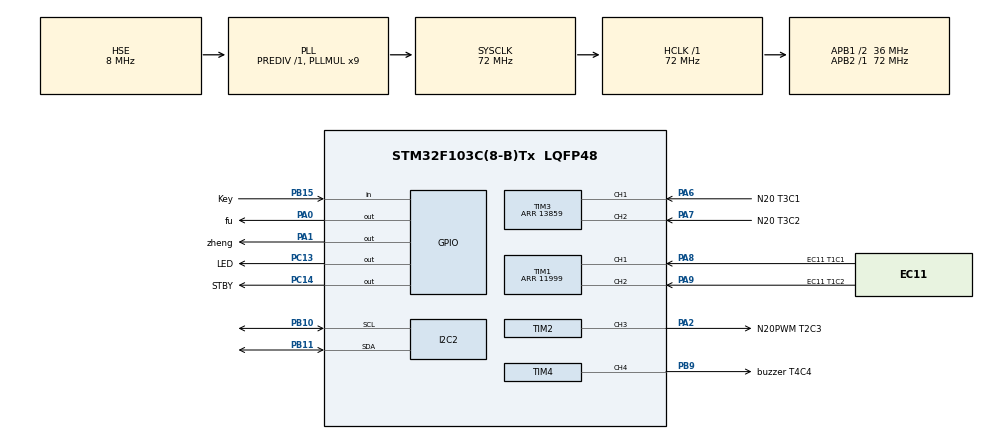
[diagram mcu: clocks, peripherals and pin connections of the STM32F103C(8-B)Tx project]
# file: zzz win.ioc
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Mcu.Family=STM32F1
Mcu.Name=STM32F103C(8-B)Tx
Mcu.Package=LQFP48
NVIC.PriorityGroup=NVIC_PRIORITYGROUP_4
PA0-WKUP.GPIO_Label=fu
PA0-WKUP.PinState=GPIO_PIN_RESET
PA0-WKUP.Signal=GPIO_Output
PA1.GPIO_Label=zheng
PA1.PinState=GPIO_PIN_RESET
PA1.Signal=GPIO_Output
PA13.Mode=Serial_Wire
PA13.Signal=SYS_JTMS-SWDIO
PA14.Mode=Serial_Wire
PA14.Signal=SYS_JTCK-SWCLK
PA2.GPIO_Label=N20PWM T2C3
PA2.Signal=S_TIM2_CH3
PA6.GPIO_Label=N20 T3C1
PA6.Signal=S_TIM3_CH1
PA7.GPIO_Label=N20 T3C2
PA7.Signal=S_TIM3_CH2
PA8.GPIO_Label=EC11 T1C1
PA8.Signal=S_TIM1_CH1
PA9.GPIO_Label=EC11 T1C2
PA9.Signal=S_TIM1_CH2
PB10.Mode=I2C
PB10.Signal=I2C2_SCL
PB11.Mode=I2C
PB11.Signal=I2C2_SDA
PB15.GPIO_Label=Key
PB15.GPIO_PuPd=GPIO_NOPULL
PB15.Signal=GPIO_Input
PB9.GPIO_Label=buzzer T4C4
PB9.Signal=S_TIM4_CH4
PC13-TAMPER-RTC.GPIO_Label=LED
PC13-TAMPER-RTC.Signal=GPIO_Output
PC14-OSC32_IN.GPIO_Label=STBY
PC14-OSC32_IN.PinState=GPIO_PIN_SET
PC14-OSC32_IN.Signal=GPIO_Output
PD0-OSC_IN.Mode=HSE-External-Oscillator
PD0-OSC_IN.Signal=RCC_OSC_IN
PD1-OSC_OUT.Mode=HSE-External-Oscillator
PD1-OSC_OUT.Signal=RCC_OSC_OUT
ProjectManager.HeapSize=0x200
ProjectManager.StackSize=0x400
ProjectManager.TargetToolchain=STM32CubeIDE
RCC.AHBFreq_Value=72000000
RCC.APB1CLKDivider=RCC_HCLK_DIV2
RCC.APB1Freq_Value=36000000
RCC.APB1TimFreq_Value=72000000
RCC.APB2Freq_Value=72000000
RCC.APB2TimFreq_Value=72000000
RCC.HCLKFreq_Value=72000000
RCC.PLLMUL=RCC_PLL_MUL9
RCC.PLLSourceVirtual=RCC_PLLSOURCE_HSE
RCC.SYSCLKFreq_VALUE=72000000
RCC.SYSCLKSource=RCC_SYSCLKSOURCE_PLLCLK
RCC.USBFreq_Value=72000000
SH.S_TIM1_CH1.0=TIM1_CH1,Encoder_Interface
SH.S_TIM1_CH2.0=TIM1_CH2,Encoder_Interface
SH.S_TIM2_CH3.0=TIM2_CH3,PWM Generation3 CH3
SH.S_TIM3_CH1.0=TIM3_CH1,Encoder_Interface
SH.S_TIM3_CH2.0=TIM3_CH2,Encoder_Interface
SH.S_TIM4_CH4.0=TIM4_CH4,PWM Generation4 CH4
TIM1.IC1Filter=15
TIM1.IC2Filter=15
TIM1.Period=11999
TIM2.Channel-PWM\ Generation3\ CH3=TIM_CHANNEL_3
TIM2.Period=999
TIM2.Prescaler=71
TIM2.Pulse-PWM\ Generation3\ CH3=999
TIM3.IC1Filter=15
TIM3.IC2Filter=15
TIM3.Period=13859
TIM4.Channel-PWM\ Generation4\ CH4=TIM_CHANNEL_4
TIM4.Period=49999
TIM4.Prescaler=7199
TIM4.Pulse-PWM\ Generation4\ CH4=49999
VP_TIM2_VS_ClockSourceINT.Mode=Internal
VP_TIM4_VS_ClockSourceINT.Mode=Internal
board=custom

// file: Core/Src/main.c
/* USER CODE BEGIN Header */
/**
  ******************************************************************************
  * @file           : main.c
  * @brief          : Main program body
  ******************************************************************************
  * @attention
  *
  * Copyright (c) 2025 STMicroelectronics.
  * All rights reserved.
  *
  * This software is licensed under terms that can be found in the LICENSE file
  * in the root directory of this software component.
  * If no LICENSE file comes with this software, it is provided AS-IS.
  *
  ******************************************************************************
  */
/* USER CODE END Header */
#include "main.h"
#include "i2c.h"
#include "tim.h"
#include "gpio.h"

/* USER CODE BEGIN Includes */

#include<stdio.h>
#include<string.h>
#include<math.h>
#include "oled.h"

/* USER CODE END Includes */

/* USER CODE BEGIN PV */

typedef enum {
    SYS_INIT,
    MENU_MAIN,
    MODE_PAUSE,
    MODE_SPIN,
    MODE_TARGET,
    MODE_CHEAT,
    MODE_SLEEP,
    SYS_ERROR
} SystemState;

SystemState sysState = SYS_INIT;

char mainmenu1[]="1.Pause";
char mainmenu2[]="2.Spin";
char mainmenu3[]="3.Target";
char mainmenu5[]="5.Cheat";
char mainmenu4[]="4.Sleep";

int tim4counter=-1;
int shuangji=0;
int danji=0;

int test1=0;
int test2=0;

int stateshift;//ec11
int locationstate;//N20
int targetlocationstate;//N20

//测速相关
int vState=0;
int N20counter1;
int timcounter1;
int N20counter2;
int timcounter2;
float realspeed;
void speeddetect()
{
	  if(vState==0)
	  {
		  N20counter1=__HAL_TIM_GET_COUNTER(&htim3);
		  timcounter1=__HAL_TIM_GET_COUNTER(&htim4);
		  vState=1;
	  }else if(vState<=3)
	  {vState++;}else
	  {
		  N20counter2=__HAL_TIM_GET_COUNTER(&htim3);
		  timcounter2=__HAL_TIM_GET_COUNTER(&htim4);
		  if(N20counter1>=11000&&N20counter2<=3400)
		  {
			  realspeed=-(N20counter2+13860-N20counter1);
		  }else if(N20counter2>=11000&&N20counter1<=3400)
		  {
			  realspeed=(N20counter1+13860-N20counter2);
		  }else
		  {
			  realspeed=-(N20counter2-N20counter1);
		  }
		  float timtemp;
		  if(timcounter1>=40000&&timcounter2<=10000)
		  {
			  timtemp=timcounter2-timcounter1+50000;
		  }else
		  {
			  timtemp=timcounter2-timcounter1;
		  }

		  realspeed=realspeed/693/timtemp*300000;
		  vState=0;

		  //显示speed
		  showspeed();
		  //OLED_ShowFrame();
	  }
}

//圈数相关
int setround;
int realround=-1;

int mubiao=10;
int cha;

//位置相关
double realn20=0;
int realarea=1;
char realareaout[3];

/* USER CODE END PV */

void SystemClock_Config(void);

/* USER CODE BEGIN 0 */
void stoph()
{
	  HAL_GPIO_WritePin(fu_GPIO_Port, fu_Pin, RESET);
	  HAL_GPIO_WritePin(zheng_GPIO_Port, zheng_Pin, RESET);
}

void stops()
{
	  HAL_GPIO_WritePin(fu_GPIO_Port, fu_Pin, SET);
	  HAL_GPIO_WritePin(zheng_GPIO_Port, zheng_Pin, SET);
}

void showspeed()
{
	char realspeedout[20];
	sprintf(realspeedout,"V = %.1f",realspeed);
	OLED_PrintString(3, 36, realspeedout, &font16x16, OLED_COLOR_NORMAL);
}

void clearlocation()
{
	OLED_SetPixel(105+18*cos(realn20), 39-18*sin(realn20), OLED_COLOR_REVERSED);
	OLED_SetPixel(105+17.5*cos(realn20), 39-17.5*sin(realn20), OLED_COLOR_REVERSED);
	OLED_SetPixel(105+17*cos(realn20), 39-17*sin(realn20), OLED_COLOR_REVERSED);
	OLED_SetPixel(105+16.5*cos(realn20), 39-16.5*sin(realn20), OLED_COLOR_REVERSED);
	OLED_SetPixel(105+16*cos(realn20), 39-16*sin(realn20), OLED_COLOR_REVERSED);
	char spitempshowlocation[]="  ";
	OLED_PrintString(100, 30, spitempshowlocation, &font16x16, OLED_COLOR_NORMAL);
}

void showlocation()
{
	OLED_SetPixel(105+18*cos(realn20), 39-18*sin(realn20), OLED_COLOR_REVERSED);
	OLED_SetPixel(105+17.5*cos(realn20), 39-17.5*sin(realn20), OLED_COLOR_REVERSED);
	OLED_SetPixel(105+17*cos(realn20), 39-17*sin(realn20), OLED_COLOR_REVERSED);
	OLED_SetPixel(105+16.5*cos(realn20), 39-16.5*sin(realn20), OLED_COLOR_REVERSED);
	OLED_SetPixel(105+16*cos(realn20), 39-16*sin(realn20), OLED_COLOR_REVERSED);

	realn20=__HAL_TIM_GET_COUNTER(&htim3)%1386;
	realarea=1+realn20/39;
	sprintf(realareaout,"%d",realarea);
	char tempshowlocation[]="  ";
	OLED_PrintString(100, 30, tempshowlocation, &font16x16, OLED_COLOR_NORMAL);
	OLED_PrintString(100, 30, realareaout, &font16x16, OLED_COLOR_NORMAL);

	realn20=realn20*3.1415926535/693;

	OLED_SetPixel(105+18*cos(realn20), 39-18*sin(realn20), OLED_COLOR_NORMAL);
	OLED_SetPixel(105+17.5*cos(realn20), 39-17.5*sin(realn20), OLED_COLOR_NORMAL);
	OLED_SetPixel(105+17*cos(realn20), 39-17*sin(realn20), OLED_COLOR_NORMAL);
	OLED_SetPixel(105+16.5*cos(realn20), 39-16.5*sin(realn20), OLED_COLOR_NORMAL);
	OLED_SetPixel(105+16*cos(realn20), 39-16*sin(realn20), OLED_COLOR_NORMAL);
	OLED_DrawCircle(105, 39, 20, OLED_COLOR_NORMAL);

	//showspeed();

	//OLED_ShowFrame();
}

void Keydetect()
{
	  if(tim4counter!=-1)
	  {
	  		if(tim4counter+4000<=__HAL_TIM_GET_COUNTER(&htim4))
	  		{
	  			danji=1;
	  			tim4counter=-1;
	  		}else if(tim4counter>=45999&&tim4counter+4000>=__HAL_TIM_GET_COUNTER(&htim4)+49999)
	  		{
	  			danji=1;
	  			tim4counter=-1;
	  		}
	  }

	  if(HAL_GPIO_ReadPin(Key_GPIO_Port, Key_Pin)==GPIO_PIN_RESET)
	  {
	  		HAL_Delay(10);
	  		while(HAL_GPIO_ReadPin(Key_GPIO_Port, Key_Pin)==GPIO_PIN_RESET);
	  		HAL_Delay(10);
	  		if(tim4counter==-1)
	  		{
	  			tim4counter=__HAL_TIM_GET_COUNTER(&htim4);
	  		}
	  		else
	  		{
	  			shuangji=1;
	  			tim4counter=-1;
	  		}
	  }
}

void winsys_Init()
{
	char qidong[]="starting";
	OLED_PrintString(13, 0, qidong, &font16x16, OLED_COLOR_NORMAL);
	OLED_ShowFrame();

	HAL_GPIO_WritePin(LED_GPIO_Port, LED_Pin, GPIO_PIN_RESET);
	HAL_Delay(500);

	HAL_GPIO_WritePin(LED_GPIO_Port, LED_Pin, GPIO_PIN_SET);
	HAL_Delay(500);

	HAL_GPIO_WritePin(LED_GPIO_Port, LED_Pin, GPIO_PIN_RESET);
	HAL_Delay(500);

	HAL_GPIO_WritePin(LED_GPIO_Port, LED_Pin, GPIO_PIN_SET);
	HAL_Delay(500);

	HAL_GPIO_WritePin(LED_GPIO_Port, LED_Pin, GPIO_PIN_RESET);
	HAL_Delay(500);

	HAL_GPIO_WritePin(LED_GPIO_Port, LED_Pin, GPIO_PIN_SET);

	HAL_Delay(500);
	//蜂鸣器一声
}
void timtest(int a)
{
	char message[20];
	char temp[]="      ";
	int counter;
	if(a==1) counter=__HAL_TIM_GET_COUNTER(&htim1);
	if(a==2) counter=__HAL_TIM_GET_COUNTER(&htim2);
	if(a==3) counter=__HAL_TIM_GET_COUNTER(&htim3);
	if(a==4) counter=__HAL_TIM_GET_COUNTER(&htim4);

	OLED_PrintString(13, 51, temp, &font16x16, OLED_COLOR_NORMAL);

	sprintf(message,"C=%d",counter);
	OLED_PrintString(13, 51, message, &font16x16, OLED_COLOR_NORMAL);
}

/* USER CODE END 0 */

int main(void)
{

  /* MCU Configuration--------------------------------------------------------*/

  /* Reset of all peripherals, Initializes the Flash interface and the Systick. */
  HAL_Init();

  /* Configure the system clock */
  SystemClock_Config();

  /* Initialize all configured peripherals */
  MX_GPIO_Init();
  MX_I2C2_Init();
  MX_TIM1_Init();
  MX_TIM2_Init();
  MX_TIM4_Init();
  MX_TIM3_Init();

  /* Infinite loop */
  /* USER CODE BEGIN WHILE */
  while (1)
  {
	  switch(sysState)
	  {
	  case SYS_INIT:

		  HAL_Delay(50);

		  OLED_Init();
		  OLED_NewFrame();
		  OLED_ShowFrame();

		  HAL_TIM_Encoder_Start(&htim1, TIM_CHANNEL_ALL);
		  HAL_TIM_Encoder_Start(&htim3, TIM_CHANNEL_ALL);
		  HAL_TIM_Base_Start(&htim4);
		  HAL_TIM_PWM_Start(&htim2, TIM_CHANNEL_3);

		  //4 buzzer PWM start
		  //HAL_TIM_PWM_Start(&htim4, TIM_CHANNEL_4);

		  //winsys_Init();//开机指标

		  char INIT1[]="Please move the";
		  char INIT2[]="pointer to point";
		  char INIT3[]="betw area 1 & 36";
		  char INIT4[]="press the key";
		  OLED_NewFrame();
		  OLED_PrintString(0, 0, INIT1, &font16x16, OLED_COLOR_NORMAL);
		  OLED_PrintString(0, 15, INIT2, &font16x16, OLED_COLOR_NORMAL);
		  OLED_PrintString(0, 31, INIT3, &font16x16, OLED_COLOR_NORMAL);
		  OLED_PrintString(0, 46, INIT4, &font16x16, OLED_COLOR_NORMAL);
		  OLED_ShowFrame();
		  while(1)
		  {
			  Keydetect();
			  if(danji)
			  {
				  danji=0;
				  break;
			  }
		  }
		  __HAL_TIM_SET_COUNTER(&htim3,0);
		  sysState = MENU_MAIN;

		  break;

	  case MENU_MAIN:
		  int meuState = 0;
		  stateshift=__HAL_TIM_GET_COUNTER(&htim1);
		  int meucounter;
		  while(1)
		  {
			  OLED_NewFrame();
			  OLED_PrintString(10, 0, mainmenu1, &font16x16, (meuState==0?OLED_COLOR_REVERSED:OLED_COLOR_NORMAL));
			  OLED_PrintString(10, 16, mainmenu2, &font16x16, (meuState==1?OLED_COLOR_REVERSED:OLED_COLOR_NORMAL));
			  OLED_PrintString(10, 32, mainmenu3, &font16x16, (meuState==2?OLED_COLOR_REVERSED:OLED_COLOR_NORMAL));
			  OLED_PrintString(10, 48, mainmenu4, &font16x16, (meuState==3?OLED_COLOR_REVERSED:OLED_COLOR_NORMAL));

			  char mentem1[]="C";
			  char mentem2[]="H";
			  char mentem3[]="E";
			  char mentem4[]="A";
			  char mentem5[]="T";
			  OLED_PrintString(90, 0, mentem1, &font16x16, (meuState==4?OLED_COLOR_REVERSED:OLED_COLOR_NORMAL));
			  OLED_PrintString(90, 13, mentem2, &font16x16, (meuState==4?OLED_COLOR_REVERSED:OLED_COLOR_NORMAL));
			  OLED_PrintString(90, 26, mentem3, &font16x16, (meuState==4?OLED_COLOR_REVERSED:OLED_COLOR_NORMAL));
			  OLED_PrintString(90, 40, mentem4, &font16x16, (meuState==4?OLED_COLOR_REVERSED:OLED_COLOR_NORMAL));
			  OLED_PrintString(90, 52, mentem5, &font16x16, (meuState==4?OLED_COLOR_REVERSED:OLED_COLOR_NORMAL));

			  meucounter=__HAL_TIM_GET_COUNTER(&htim1);
			  if(stateshift>=0&&stateshift<=1000&&meucounter>=4000)
			  {
				  meuState+=(5-1);
				  meuState%=5;
				  HAL_Delay(100);
				  stateshift=__HAL_TIM_GET_COUNTER(&htim1);
			  }else if(stateshift<meucounter)
			  {
				  meuState+=1;
				  meuState%=5;
				  HAL_Delay(100);
				  stateshift=__HAL_TIM_GET_COUNTER(&htim1);
			  }else if(stateshift>=4000&&meucounter<=1000&&meucounter>=0)
			  {
				  meuState+=1;
				  meuState%=5;
				  HAL_Delay(100);
				  stateshift=__HAL_TIM_GET_COUNTER(&htim1);
			  }else if(stateshift>meucounter)
			  {
				  meuState+=(5-1);
				  meuState%=5;
				  HAL_Delay(100);
				  stateshift=__HAL_TIM_GET_COUNTER(&htim1);
			  }
			  OLED_ShowFrame();

			  Keydetect();

			  if(danji)
			  {
				  switch(meuState)
				  {
				  case 0:
					  sysState=MODE_PAUSE;
					  break;
				  case 1:
					  sysState=MODE_SPIN;
					  break;
				  case 2:
					  sysState=MODE_TARGET;
					  break;
				  case 3:
					  sysState=MODE_SLEEP;
					  break;
				  case 4:
					  sysState=MODE_CHEAT;
					  break;
				  }
				  __HAL_TIM_SET_COUNTER(&htim1,0);
				  danji=0;
			  }

			  if(shuangji)
			  {
				  sysState = SYS_INIT;
				  shuangji=0;
			  }

			  if(sysState!=MENU_MAIN)
			  {
				  break;
			  }
		  }
		  break;

	  case MODE_PAUSE:

		  char pause1[]="SPEED =      r/m";
		  OLED_NewFrame();
		  OLED_PrintString(0, 0, pause1, &font16x16, (OLED_COLOR_NORMAL));
		  OLED_ShowFrame();

		  int pauState = 0;
		  stateshift=__HAL_TIM_GET_COUNTER(&htim1);//速度调节调用
		  locationstate=__HAL_TIM_GET_COUNTER(&htim3);//位置调用
		  int paucounter;
		  int pauspeed=0;

		  while(sysState==MODE_PAUSE)
		  {
			  showlocation();
			  if(pauState!=0)
			  {
				  speeddetect();
			  }else
			  {
				  //遮住速度
			  }
			  OLED_ShowFrame();

			  if(pauState==0)
			  {
				  Keydetect();
				  paucounter=__HAL_TIM_GET_COUNTER(&htim1);
				  if(stateshift>=0&&stateshift<=1000&&paucounter>=4000)
				  {
					  pauspeed-=(stateshift+14000-paucounter)*5;
					  stateshift=paucounter;//逆时针
				  }else if(stateshift<paucounter)
				  {
					  pauspeed+=(paucounter-stateshift)*5;
					  stateshift=paucounter;
				  }else if(stateshift>=4000&&paucounter<=1000&&paucounter>=0)
				  {
					  pauspeed+=(paucounter+14000-stateshift)*5;
					  stateshift=paucounter;
				  }else if(stateshift>paucounter)
				  {
					  pauspeed-=(stateshift-paucounter)*5;
					  stateshift=paucounter;//逆时针
				  }

				  if(pauspeed<-300)
				  {
					  pauspeed=-300;
				  }else
				  {
					  if(pauspeed>300)
					  {
						  pauspeed=300;
					  }
				  }
				  char pauspeedout[5];
				  sprintf(pauspeedout,"%d",pauspeed);

				  OLED_PrintString(0, 0, pause1, &font16x16, (OLED_COLOR_NORMAL));
				  OLED_PrintString(63, 0, pauspeedout, &font16x16, OLED_COLOR_REVERSED);
				  OLED_ShowFrame();

				  if(shuangji)
				  {
					  shuangji=0;
					  sysState=MENU_MAIN;

				  }else if(danji)
				  {
					  danji=0;
					  OLED_PrintString(63, 0, pauspeedout, &font16x16, OLED_COLOR_NORMAL);
					  OLED_ShowFrame();

					  if(pauspeed>0)
					  {
						  __HAL_TIM_SET_COMPARE(&htim2,TIM_CHANNEL_3,(pauspeed*10/3)-1);
						  HAL_GPIO_WritePin(zheng_GPIO_Port, zheng_Pin, SET);
						  HAL_GPIO_WritePin(fu_GPIO_Port, fu_Pin, RESET);
						  pauState=1;
					  }else if(pauspeed<0)
					  {
						  __HAL_TIM_SET_COMPARE(&htim2,TIM_CHANNEL_3,(-pauspeed*10/3)-1);
						  HAL_GPIO_WritePin(zheng_GPIO_Port, zheng_Pin, RESET);
						  HAL_GPIO_WritePin(fu_GPIO_Port, fu_Pin, SET);
						  pauState=1;
					  }
				  }

			  }else
			  {
				  Keydetect();
				  if(danji||shuangji)
				  {
					  HAL_GPIO_WritePin(fu_GPIO_Port, fu_Pin, SET);
					  HAL_GPIO_WritePin(zheng_GPIO_Port, zheng_Pin, SET);

					  danji=0;
					  shuangji=0;
					  pauState=0;
				  }
			  }
			  if(sysState!=MODE_PAUSE)
			  {
				  break;
			  }
		  }
		  break;

	  case MODE_SPIN:
		  int spiState = 0;//0=设定v 1=设定圈 2=电机启动到自然停下 3=finish
		  stateshift=__HAL_TIM_GET_COUNTER(&htim1);//速度调节调用
		  locationstate=__HAL_TIM_GET_COUNTER(&htim3);//位置调用
		  int spicounter;//计数器比较
		  int spispeed=0;
		  float spiround=0;
		  char spispeedout[5];
		  char spiroundout[5];

		  OLED_NewFrame();
		  char spin1[]="SPEED =     r/m";
		  OLED_PrintString(3, 0, spin1, &font16x16, OLED_COLOR_NORMAL);
		  char spin2[]="SPIN     R";
		  OLED_PrintString(3, 17, spin2, &font16x16, OLED_COLOR_NORMAL);
		  sprintf(spiroundout,"%d",spiround);
		  OLED_PrintString(44, 17, spiroundout, &font16x16, OLED_COLOR_NORMAL);
		  OLED_ShowFrame();

		  while(1)
		  {
			  //指针区域显示

			  showlocation();
			  switch(spiState)
			  {
			  case 0:

				  //ec11速度旋转调节

				  spicounter=__HAL_TIM_GET_COUNTER(&htim1);
				  if(stateshift>=0&&stateshift<=1000&&spicounter>=4000)
				  {
					  spispeed-=(stateshift+14000-spicounter)*5;
					  stateshift=spicounter;//逆时针
				  }else if(stateshift<spicounter)
				  {
					  spispeed+=(spicounter-stateshift)*5;
					  stateshift=spicounter;
				  }else if(stateshift>=4000&&spicounter<=1000&&spicounter>=0)
				  {
					  spispeed+=(spicounter+14000-stateshift)*5;
					  stateshift=spicounter;
				  }else if(stateshift>spicounter)
				  {
					  spispeed-=(stateshift-spicounter)*5;
					  stateshift=spicounter;//逆时针
				  }

				  if(spispeed<-300)
				  {
					  spispeed=-300;
				  }else
				  {
					  if(spispeed>300)
					  {
						  spispeed=300;
					  }
				  }
				  sprintf(spispeedout,"%d",spispeed);

				  OLED_PrintString(3, 0, spin1, &font16x16, OLED_COLOR_NORMAL);

				  OLED_PrintString(64, 0, spispeedout, &font16x16, OLED_COLOR_REVERSED);
				  OLED_ShowFrame();

				  if(danji)
				  {
					  spiState=1;
					  danji=0;
				  }else if(shuangji)
				  {
					  sysState=MENU_MAIN;
					  shuangji=0;
				  }

				  break;
			  case 1:

				  //ec11圈数旋转调节

				  spicounter=__HAL_TIM_GET_COUNTER(&htim1);
				  if(stateshift>=0&&stateshift<=1000&&spicounter>=4000)
				  {
					  spiround-=(stateshift+14000-spicounter)*0.5;
					  stateshift=spicounter;//逆时针
				  }else if(stateshift<spicounter)
				  {
					  spiround+=(spicounter-stateshift)*0.5;
					  stateshift=spicounter;
				  }else if(stateshift>=4000&&spicounter<=1000&&spicounter>=0)
				  {
					  spiround+=(spicounter+14000-stateshift)*0.5;
					  stateshift=spicounter;
				  }else if(stateshift>spicounter)
				  {
					  spiround-=(stateshift-spicounter)*0.5;
					  stateshift=spicounter;//逆时针
				  }

				  if(spiround<0)
				  {
					  spiround=0;
				  }else
				  {
					  if(spiround>999)
					  {
						  spiround=999;
					  }
				  }
				  int spiroundint=spiround;
				  sprintf(spiroundout,"%d",spiroundint);

				  OLED_PrintString(3, 0, spin1, &font16x16, OLED_COLOR_NORMAL);
				  OLED_PrintString(3, 17, spin2, &font16x16, OLED_COLOR_NORMAL);

				  OLED_PrintString(64, 0, spispeedout, &font16x16, OLED_COLOR_NORMAL);
				  OLED_PrintString(44, 17, spiroundout, &font16x16, OLED_COLOR_REVERSED);
				  OLED_ShowFrame();

				  if(danji)
				  {
					  spiState=2;
					  danji=0;
				  }else if(shuangji)
				  {
					  spiState=0;
					  shuangji=0;
				  }

				  break;
			  case 2:

				  OLED_PrintString(44, 17, spiroundout, &font16x16, OLED_COLOR_NORMAL);

				  char spitem1[]="spinning";
				  //OLED_PrintString(3, 34, spitem1, &font16x16, OLED_COLOR_NORMAL);
				  OLED_ShowFrame();

				  setround=spiroundint;

				  //启动电机
				  if(spispeed>0)
				  {
					  __HAL_TIM_SET_COMPARE(&htim2,TIM_CHANNEL_3,(spispeed*10/3)-1);
					  HAL_GPIO_WritePin(zheng_GPIO_Port, zheng_Pin, SET);
					  HAL_GPIO_WritePin(fu_GPIO_Port, fu_Pin, RESET);
				  }else if(spispeed<0)
				  {
					  __HAL_TIM_SET_COMPARE(&htim2,TIM_CHANNEL_3,(-spispeed*10/3)-1);
					  HAL_GPIO_WritePin(zheng_GPIO_Port, zheng_Pin, RESET);
					  HAL_GPIO_WritePin(fu_GPIO_Port, fu_Pin, SET);
				  }

				  realround=-1;
				  locationstate=__HAL_TIM_GET_COUNTER(&htim3);

				  clearlocation();

				  while(1)
				  {
					  cha=__HAL_TIM_GET_COUNTER(&htim3)%1386-locationstate%1386;
					  if(cha<=mubiao&&cha>=-mubiao)
					  {
						  realround++;
						  if(setround==realround)
						  {
							  break;
						  }
						  HAL_Delay(50);
						  speeddetect();
						  //showlocation();
						  OLED_ShowFrame();
					  }
				  }
				  //已经到达buzzer
				  //遮住速度
				  stops();

				  char spitem2[]="          ";
				  OLED_PrintString(3, 34, spitem2, &font16x16, OLED_COLOR_NORMAL);
				  OLED_ShowFrame();

				  spiState=3;

				  break;

			  case 3:

				  char spitem3[]="Finish";
				  OLED_PrintString(3, 34, spitem3, &font16x16, OLED_COLOR_NORMAL);
				  OLED_ShowFrame();

				  if(danji||shuangji)
				  {
					  spiState=0;
					  danji=0;
					  shuangji=0;

					  char spitem4[]="      ";
					  OLED_PrintString(3, 34, spitem4, &font16x16, OLED_COLOR_NORMAL);
				  }

				  break;
			  }

			  Keydetect();

			  if(sysState!=MODE_SPIN)
			  {
				  break;
			  }
		  }
		  break;
	  case MODE_TARGET:
		  int tarState = 1;
		  stateshift=__HAL_TIM_GET_COUNTER(&htim1);//速度调节调用
		  locationstate=__HAL_TIM_GET_COUNTER(&htim3);//位置调用
		  int tarcounter;//计数器比较
		  int tarspeed=0;
		  int tarround=0;
		  int tarlocation=0;
		  char tarspeedout[5];
		  char tarroundout[5];
		  char tarlocationout[]="1";
		  char tartemp[]="   ";
		  int e,f;

		  OLED_NewFrame();
		  //char tar1[]="SPEED =     r/m";
		  //OLED_PrintString(3, 0, tar1, &font16x16, OLED_COLOR_NORMAL);
		  char tar2[]="SPIN     R";
		  OLED_PrintString(0, 0, tar2, &font16x16, OLED_COLOR_NORMAL);
		  char tar3[]="   AREA";
		  OLED_PrintString(0, 17, tar3, &font16x16, OLED_COLOR_NORMAL);
		  sprintf(tarspeedout,"%d",tarspeed);
		  sprintf(tarroundout,"%d",tarround);

		  //OLED_PrintString(66, 0, tarspeedout, &font16x16, OLED_COLOR_NORMAL);
		  OLED_PrintString(41, 0, tarroundout, &font16x16, OLED_COLOR_NORMAL);
		  OLED_PrintString(0, 17, tarlocationout, &font16x16, OLED_COLOR_NORMAL);
		  OLED_ShowFrame();

		  while(1)
		  {

			  //指针区域显示

			  showlocation();
			  switch(tarState)
			  {
			  case 0:

				  //ec11速度旋转调节

				  tarcounter=__HAL_TIM_GET_COUNTER(&htim1);
				  if(stateshift>=0&&stateshift<=1000&&tarcounter>=4000)
				  {
					  tarspeed-=(stateshift+14000-tarcounter)*5;
					  stateshift=tarcounter;//逆时针
				  }else if(stateshift<tarcounter)
				  {
					  tarspeed+=(tarcounter-stateshift)*5;
					  stateshift=tarcounter;
				  }else if(stateshift>=4000&&tarcounter<=1000&&tarcounter>=0)
				  {
					  tarspeed+=(tarcounter+14000-stateshift)*5;
					  stateshift=tarcounter;
				  }else if(stateshift>tarcounter)
				  {
					  tarspeed-=(stateshift-tarcounter)*5;
					  stateshift=tarcounter;//逆时针
				  }

				  if(tarspeed<-300)
				  {
					  tarspeed=-300;
				  }else
				  {
					  if(tarspeed>300)
					  {
						  tarspeed=300;
					  }
				  }
				  sprintf(tarspeedout,"%d",tarspeed);

				  OLED_PrintString(64, 0, tartemp, &font16x16, OLED_COLOR_NORMAL);
				  OLED_PrintString(64, 0, tarspeedout, &font16x16, OLED_COLOR_REVERSED);
				  OLED_PrintString(44, 17, tarroundout, &font16x16, OLED_COLOR_NORMAL);
				  OLED_PrintString(44, 34, tarlocationout, &font16x16, OLED_COLOR_NORMAL);
				  OLED_ShowFrame();

				  if(danji)
				  {
					  tarState=1;
					  danji=0;
				  }else if(shuangji)
				  {
					  sysState=MENU_MAIN;
					  shuangji=0;
				  }

				  break;
			  case 1:

				  //ec11圈数旋转调节
				  tarcounter=__HAL_TIM_GET_COUNTER(&htim1);
				  if(stateshift>=0&&stateshift<=1000&&tarcounter>=4000)
				  {
					  tarround-=(stateshift+14000-tarcounter)*0.5;
					  stateshift=tarcounter;//逆时针
				  }else if(stateshift<tarcounter)
				  {
					  tarround+=(tarcounter-stateshift)*0.5;
					  stateshift=tarcounter;
				  }else if(stateshift>=4000&&tarcounter<=1000&&tarcounter>=0)
				  {
					  tarround+=(tarcounter+14000-stateshift)*0.5;
					  stateshift=tarcounter;
				  }else if(stateshift>tarcounter)
				  {
					  tarround-=(stateshift-tarcounter)*0.5;
					  stateshift=tarcounter;//逆时针
				  }

				  if(tarround<0)
				  {
					  tarround=0;
				  }else
				  {
					  if(tarround>999)
					  {
						  tarround=999;
					  }
				  }
				  int tarroundint=tarround;
				  sprintf(tarroundout,"%d",tarroundint);

				  OLED_PrintString(41, 0, tartemp, &font16x16, OLED_COLOR_NORMAL);
				  //OLED_PrintString(64, 0, tarspeedout, &font16x16, OLED_COLOR_NORMAL);
				  OLED_PrintString(41, 0, tarroundout, &font16x16, OLED_COLOR_REVERSED);
				  OLED_PrintString(0, 17, tarlocationout, &font16x16, OLED_COLOR_NORMAL);
				  OLED_ShowFrame();

				  if(danji)
				  {
					  tarState=2;
					  danji=0;
					  setround=tarround;
				  }else if(shuangji)
				  {
					  sysState=MENU_MAIN;
					  shuangji=0;
				  }

				  break;
			  case 2:

				  //ec11区域旋转调节
				  tarcounter=__HAL_TIM_GET_COUNTER(&htim1);
				  if(stateshift>=0&&stateshift<=1000&&tarcounter>=4000)
				  {
					  tarlocation-=(stateshift+14000-tarcounter)*0.5;
					  stateshift=tarcounter;//逆时针
				  }else if(stateshift<tarcounter)
				  {
					  tarlocation+=(tarcounter-stateshift)*0.5;
					  stateshift=tarcounter;
				  }else if(stateshift>=4000&&tarcounter<=1000&&tarcounter>=0)
				  {
					  tarlocation+=(tarcounter+14000-stateshift)*0.5;
					  stateshift=tarcounter;
				  }else if(stateshift>tarcounter)
				  {
					  tarlocation-=(stateshift-tarcounter)*0.5;
					  stateshift=tarcounter;//逆时针
				  }

				  if(tarlocation<1)
				  {
					  tarlocation=1;
				  }else
				  {
					  if(tarlocation>36)
					  {
						  tarlocation=36;
					  }
				  }
				  int tarlocationint=tarlocation;
				  sprintf(tarlocationout,"%d",tarlocationint);

				  //OLED_PrintString(64, 0, tarspeedout, &font16x16, OLED_COLOR_NORMAL);
				  OLED_PrintString(0, 17, tartemp, &font16x16, OLED_COLOR_NORMAL);
				  OLED_PrintString(41, 0, tarroundout, &font16x16, OLED_COLOR_NORMAL);
				  OLED_PrintString(0, 17, tarlocationout, &font16x16, OLED_COLOR_REVERSED);
				  OLED_ShowFrame();

				  if(danji)
				  {
					  tarState=3;
					  danji=0;
				  }else if(shuangji)
				  {
					  tarState=1;
					  shuangji=0;
				  }

				  break;
			  case 3:

				  OLED_PrintString(0, 17, tarlocationout, &font16x16, OLED_COLOR_NORMAL);

				  char tartem1[]="spinning";
				  OLED_PrintString(0, 36, tartem1, &font16x16, OLED_COLOR_NORMAL);
				  OLED_ShowFrame();

				  //启动电机

				  __HAL_TIM_SET_COMPARE(&htim2,TIM_CHANNEL_3,299);

				  HAL_GPIO_WritePin(zheng_GPIO_Port, zheng_Pin, RESET);
				  HAL_GPIO_WritePin(fu_GPIO_Port, fu_Pin, SET);
				  //显示正在转动

				  clearlocation();
				  realround=-1;
				  locationstate=__HAL_TIM_GET_COUNTER(&htim3);
				  while(1)
				  {
					  cha=__HAL_TIM_GET_COUNTER(&htim3)%1386-locationstate%1386;
					  if(cha<=mubiao&&cha>=-mubiao)
					  {
						  realround++;
						  HAL_Delay(75);
						  if(setround==realround+1)
						  {
							  break;
						  }
						  //speeddetect();
						  //showlocation();
						  OLED_ShowFrame();
					  }
				  }
				  __HAL_TIM_SET_COMPARE(&htim2,TIM_CHANNEL_3,149);

				  HAL_GPIO_WritePin(zheng_GPIO_Port, zheng_Pin, RESET);
				  HAL_GPIO_WritePin(fu_GPIO_Port, fu_Pin, SET);
				  while(1)
				  {
					  cha=__HAL_TIM_GET_COUNTER(&htim3)%1386-locationstate%1386;
					  if(cha<=mubiao&&cha>=-mubiao)
					  {
						  realround++;
						  if(setround==realround)
						  {
							  break;
						  }
					  }
				  }

				  __HAL_TIM_SET_COMPARE(&htim2,TIM_CHANNEL_3,99);

				  HAL_GPIO_WritePin(zheng_GPIO_Port, zheng_Pin, RESET);
				  HAL_GPIO_WritePin(fu_GPIO_Port, fu_Pin, SET);
				  int mudi=locationstate%1386+tarlocation*39;
				  mudi%=1386;
				  while(1)
				  {
					  cha=__HAL_TIM_GET_COUNTER(&htim3)%1386-mudi;
					  if(cha<=mubiao&&cha>=-mubiao)
					  {
						  break;
					  }
				  }

				  //已经到达buzzer
				  stops();

				  char tartem2[]="        ";
				  OLED_PrintString(0, 36, tartem2, &font16x16, OLED_COLOR_NORMAL);
				  OLED_ShowFrame();

				  tarState=4;

				  locationstate=__HAL_TIM_GET_COUNTER(&htim3);

				  char tartem3[]="Finish";
				  OLED_PrintString(0, 36, tartem3, &font16x16, OLED_COLOR_NORMAL);
				  OLED_ShowFrame();

				  break;

			  case 4:
				  showlocation();
				  OLED_ShowFrame();

				  if(danji||shuangji)
				  {
					  tarState=1;
					  danji=0;
					  shuangji=0;

					  char tartem4[]="      ";
					  OLED_PrintString(0, 36, tartem4, &font16x16, OLED_COLOR_NORMAL);
				  }

				  tarcounter=__HAL_TIM_GET_COUNTER(&htim3);
				  if(tarcounter%1386-locationstate%1386<=-50||tarcounter%1386-locationstate%1386>=50)
				  {

					  if(tarcounter<=1000&&locationstate>=12859)
					  {
						  e=1;
						  f=-1;
					  }else if(tarcounter>locationstate)
					  {
						  e=1;
						  f=-1;
					  }else if(locationstate<=1000&&tarcounter>=12859)
					  {
						  e=-1;
						  f=-1;
						  //顺时针
					  }else if(locationstate>tarcounter)
					  {
						  e=-1;
						  f=-1;
						  //sun
					  }
				  }

				  if(e==1)
				  {
					  //顺时针转动
					  __HAL_TIM_SET_COMPARE(&htim2,TIM_CHANNEL_3,199);

					  HAL_GPIO_WritePin(zheng_GPIO_Port, zheng_Pin, SET);
					  HAL_GPIO_WritePin(fu_GPIO_Port, fu_Pin, RESET);
					  e=0 ;
					  HAL_Delay(40);
				  }else if(e==-1)
				  {
					  __HAL_TIM_SET_COMPARE(&htim2,TIM_CHANNEL_3,199);

					  HAL_GPIO_WritePin(zheng_GPIO_Port, zheng_Pin, RESET);
					  HAL_GPIO_WritePin(fu_GPIO_Port, fu_Pin, SET);
					  e=0;
					  HAL_Delay(40);
				  }

				  if(f==-1)
				  {
					  while(1)
					  {
						  tarcounter=__HAL_TIM_GET_COUNTER(&htim3);
						  if((tarcounter%1386-locationstate%1386>=-5&&tarcounter%1386-locationstate%1386<=5))
						  {
							  stops();
							  f=0;
							  HAL_Delay(200);
							  break;
						  }
					  }
				  }

				  break;
			  }

			  Keydetect();

			  if(sysState!=MODE_TARGET)
			  {
				  break;
			  }
		  }
		  break;

	  case MODE_SLEEP:
		  OLED_NewFrame();
		  OLED_ShowFrame();

		  int sleState = 0;
		  stateshift=__HAL_TIM_GET_COUNTER(&htim1);//速度调节调用
		  locationstate=__HAL_TIM_GET_COUNTER(&htim3);//位置调用
		  int slecounter;
		  int locacounter;
		  int slespeed=0;

		  locationstate%=1386;
		  float sletemp=locationstate*40/1386;
		  int sletempint=40-sletemp;
		  __HAL_TIM_SET_COUNTER(&htim1,sletempint);
		  stateshift=__HAL_TIM_GET_COUNTER(&htim1);

		  int c,a,b,slecha,d;
		  d=0;
		  int panduan=0;
		  while(1)
		  {

			  Keydetect();
			  if(shuangji||danji)
			  {
				  shuangji=0;
				  danji=0;
				  sysState=MENU_MAIN;
			  }
			  showlocation();
			  timtest(1);
			  OLED_ShowFrame();

			  slecounter=__HAL_TIM_GET_COUNTER(&htim1);
			  if(stateshift>=0&&stateshift<=1000&&slecounter>=4000)
			  {
				  c=-1;
				  d=1;
				  panduan=1;
				  stateshift=slecounter;//逆时针
			  }else if(stateshift<slecounter)
			  {
				  c=1;
				  d=1;
				  panduan=1;
				  stateshift=slecounter;
			  }else if(stateshift>=4000&&slecounter<=1000&&slecounter>=0)
			  {
				  c=1;
				  d=1;
				  panduan=1;
				  stateshift=slecounter;
			  }else if(stateshift>slecounter)
			  {
				  c=-1;
				  d=1;
				  panduan=1;
				  stateshift=slecounter;//逆时针
			  }else if(slecounter==stateshift&&panduan==1)
			  {

				  locacounter=__HAL_TIM_GET_COUNTER(&htim3);
				  if(locacounter%1386-locationstate%1386<=-50||locacounter%1386-locationstate%1386>=50)
				  {

					  if(locacounter<=1000&&locationstate>=12859)
					  {
						  c=1;
						  d=-1;
					  }else if(locacounter>locationstate)
					  {
						  c=1;
						  d=-1;
					  }else if(locationstate<=1000&&locacounter>=12859)
					  {
						  c=-1;
						  d=-1;
						  //顺时针
					  }else if(locationstate>locacounter)
					  {
						  c=-1;
						  d=-1;
						  //sun
					  }
				  }
			  }

			  if(c==1)
			  {
				  //顺时针转动
				  __HAL_TIM_SET_COMPARE(&htim2,TIM_CHANNEL_3,199);

				  HAL_GPIO_WritePin(zheng_GPIO_Port, zheng_Pin, SET);
				  HAL_GPIO_WritePin(fu_GPIO_Port, fu_Pin, RESET);
				  c=0;
				  HAL_Delay(40);
			  }else if(c==-1)
			  {
				  __HAL_TIM_SET_COMPARE(&htim2,TIM_CHANNEL_3,199);

				  HAL_GPIO_WritePin(zheng_GPIO_Port, zheng_Pin, RESET);
				  HAL_GPIO_WritePin(fu_GPIO_Port, fu_Pin, SET);
				  c=0;
				  HAL_Delay(40);
			  }

			  if(d==1)
			  {
				  while(1)
				  {
					  a=__HAL_TIM_GET_COUNTER(&htim3);
					  b=__HAL_TIM_GET_COUNTER(&htim1);
					  slecha=(a%1386)*40-(40-b%40)*1386;
					  if(slecha>=-3000&&slecha<=3000)
					  {
						  stops();
						  d=0;
						  HAL_Delay(100);
						  locationstate=__HAL_TIM_GET_COUNTER(&htim3);
						  break;
					  }
				  }
			  }

			  if(d==-1)
			  {
				  while(1)
				  {
					  locacounter=__HAL_TIM_GET_COUNTER(&htim3);
					  if((locacounter%1386-locationstate%1386>=-5&&locacounter%1386-locationstate%1386<=5))
					  {
						  stops();
						  d=0;
						  HAL_Delay(200);
						  break;
					  }
				  }
			  }

			  if(sysState!=MODE_SLEEP)
			  {
				  break;
			  }
		  }
		  break;
	  case MODE_CHEAT:
		  OLED_NewFrame();
		  OLED_ShowFrame();

		  int cheState = 0;
		  stateshift=__HAL_TIM_GET_COUNTER(&htim1);//速度调节调用
		  locationstate=__HAL_TIM_GET_COUNTER(&htim3);//位置调用
		  int checounter;
		  int chelocation=0;

		  char che[]="   AREA";
		  char chelocationout[5];
		  char chetemp[]="   ";
		  OLED_PrintString(0, 0, che, &font16x16, OLED_COLOR_NORMAL);
		  OLED_ShowFrame();

		  __HAL_TIM_SET_COMPARE(&htim2,TIM_CHANNEL_3,999);

		  HAL_GPIO_WritePin(zheng_GPIO_Port, zheng_Pin, SET);
		  HAL_GPIO_WritePin(fu_GPIO_Port, fu_Pin, RESET);

		  while(1)
		  {
		  switch(cheState)
		  {
		  case 0:
			  Keydetect();
			  checounter=__HAL_TIM_GET_COUNTER(&htim1);
			  if(stateshift>=0&&stateshift<=1000&&checounter>=4000)
			  {
				    chelocation-=(stateshift+14000-checounter)*0.5;
			  		stateshift=checounter;//逆时针
			  }else if(stateshift<checounter)
			  {
				    chelocation+=(checounter-stateshift)*0.5;
			  		stateshift=checounter;
			  }else if(stateshift>=4000&&checounter<=1000&&checounter>=0)
			  {
				    chelocation+=(checounter+14000-stateshift)*0.5;
			  		stateshift=checounter;
			  }else if(stateshift>checounter)
			  {
				    chelocation-=(stateshift-checounter)*0.5;
			  		stateshift=checounter;//逆时针
			  }

			  if(chelocation<1)
			  {
				  chelocation=1;
			  }else
			  {
			  		if(chelocation>36)
			  		{
			  			chelocation=36;
			  		}
			  }
			  int chelocationint=chelocation;
			  sprintf(chelocationout,"%d",chelocationint);

			  OLED_PrintString(0, 0, chetemp, &font16x16, OLED_COLOR_NORMAL);
			  OLED_PrintString(0, 0, chelocationout, &font16x16, OLED_COLOR_REVERSED);
			  OLED_ShowFrame();

			  if(danji)
			  {
				    cheState=1;
			  		danji=0;
			  }else if(shuangji)
			  {
				    sysState=MENU_MAIN;
				    stops();
			  		shuangji=0;
			  }
			  break;
		  case 1:
			  OLED_PrintString(0, 0, chelocationout, &font16x16, OLED_COLOR_NORMAL);
			  OLED_ShowFrame();
			  int jiansu=995;
			  while(1)
			  {
				  showlocation();
				  OLED_ShowFrame();

				  __HAL_TIM_SET_COMPARE(&htim2,TIM_CHANNEL_3,jiansu);
				  jiansu=jiansu-10;
				  if(jiansu==255)
				  {
					  int a;
					  while(1)
					  {
						  showlocation();
						  OLED_ShowFrame();

						  a=__HAL_TIM_GET_COUNTER(&htim3);
						  if(a%1386-693>-20&&a%1386-693<20)
						  {
							  break;
						  }
					  }
				  }
				  if(jiansu==35)
				  {
					  stops();
					  break;
				  }
			  }
			  cheState=2;
			  break;
		  case 2:
			  showlocation();
			  OLED_ShowFrame();
			  Keydetect();
			  if(danji)
			  {

				  __HAL_TIM_SET_COMPARE(&htim2,TIM_CHANNEL_3,999);

				  HAL_GPIO_WritePin(zheng_GPIO_Port, zheng_Pin, SET);
				  HAL_GPIO_WritePin(fu_GPIO_Port, fu_Pin, RESET);

				  cheState=0;
				  danji=0;
			  }
			  if(shuangji)
			  {
				  sysState=MENU_MAIN;
				  shuangji=0;
			  }

			  break;
		  }
		  if(sysState!=MODE_CHEAT)
		  {
			  break;
		  }
		  }
		  break;
	  case SYS_ERROR:
		  break;
	  }

    /* USER CODE END WHILE */

  }
}

void SystemClock_Config(void)
{
  RCC_OscInitTypeDef RCC_OscInitStruct = {0};
  RCC_ClkInitTypeDef RCC_ClkInitStruct = {0};

  /** Initializes the RCC Oscillators according to the specified parameters
  * in the RCC_OscInitTypeDef structure.
  */
  RCC_OscInitStruct.OscillatorType = RCC_OSCILLATORTYPE_HSE;
  RCC_OscInitStruct.HSEState = RCC_HSE_ON;
  RCC_OscInitStruct.HSEPredivValue = RCC_HSE_PREDIV_DIV1;
  RCC_OscInitStruct.HSIState = RCC_HSI_ON;
  RCC_OscInitStruct.PLL.PLLState = RCC_PLL_ON;
  RCC_OscInitStruct.PLL.PLLSource = RCC_PLLSOURCE_HSE;
  RCC_OscInitStruct.PLL.PLLMUL = RCC_PLL_MUL9;
  if (HAL_RCC_OscConfig(&RCC_OscInitStruct) != HAL_OK)
  {
    Error_Handler();
  }

  /** Initializes the CPU, AHB and APB buses clocks
  */
  RCC_ClkInitStruct.ClockType = RCC_CLOCKTYPE_HCLK|RCC_CLOCKTYPE_SYSCLK
                              |RCC_CLOCKTYPE_PCLK1|RCC_CLOCKTYPE_PCLK2;
  RCC_ClkInitStruct.SYSCLKSource = RCC_SYSCLKSOURCE_PLLCLK;
  RCC_ClkInitStruct.AHBCLKDivider = RCC_SYSCLK_DIV1;
  RCC_ClkInitStruct.APB1CLKDivider = RCC_HCLK_DIV2;
  RCC_ClkInitStruct.APB2CLKDivider = RCC_HCLK_DIV1;

  if (HAL_RCC_ClockConfig(&RCC_ClkInitStruct, FLASH_LATENCY_2) != HAL_OK)
  {
    Error_Handler();
  }
}

void Error_Handler(void)
{
  __disable_irq();
  while (1)
  {
  }
}
